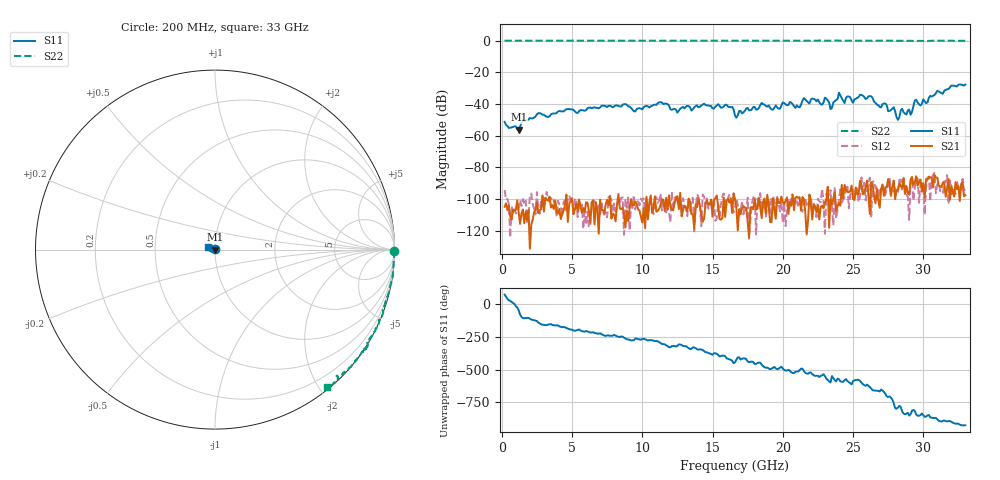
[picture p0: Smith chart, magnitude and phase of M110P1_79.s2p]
# GHZ S RI R 50
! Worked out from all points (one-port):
!   329 points, 200 MHz to 33 GHz, reference 50 ohm
!   lowest |S11| = -56.2 dB at 1.2 GHz (marker M1), VSWR 1.00, Z = 50.1 - j0.116 ohm
!   |S11| at or under -10 dB: start of sweep to end of sweep
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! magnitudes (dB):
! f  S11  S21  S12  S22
! 200 MHz  -51.3  -105.0  -94.4  0.0
! 1.2 GHz  -56.2  -108.1  -106.4  0.0
! 2.6 GHz  -45.9  -109.0  -107.3  0.0
! 5.7 GHz  -44.0  -108.8  -103.6  0.0
! 11.2 GHz  -39.0  -106.3  -101.1  -0.1
! 12.5 GHz  -45.5  -98.3  -101.7  -0.1
! 16 GHz  -40.5  -101.3  -103.7  0.0
! 16.6 GHz  -47.4  -100.2  -105.0  0.0
! 22.1 GHz  -36.6  -113.1  -105.9  0.0
! 23 GHz  -36.1  -102.1  -122.1  0.0
! 23.4 GHz  -43.3  -100.3  -94.5  0.1
! 24 GHz  -32.9  -102.6  -99.9  0.0
! 24.4 GHz  -39.5  -91.2  -98.8  0.0
! 26.2 GHz  -35.1  -109.5  -86.6  0.0
! 27.6 GHz  -44.4  -90.6  -86.5  0.0
! 27.9 GHz  -42.1  -88.4  -95.2  0.0
! 28.2 GHz  -50.1  -94.2  -95.6  -0.1
! 28.5 GHz  -43.1  -93.1  -94.1  -0.1
! 29.1 GHz  -46.8  -87.8  -88.9  -0.1
! 29.5 GHz  -37.4  -85.7  -88.6  0.0
! 29.8 GHz  -40.9  -87.7  -90.1  -0.1
! 33 GHz  -27.8  -97.7  -94.4  -0.1
